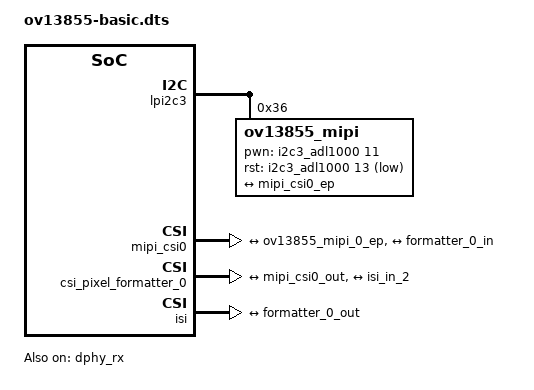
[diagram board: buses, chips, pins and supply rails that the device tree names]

&scmi_iomuxc {
	pinctrl_csi_mclk: csi_mclk {
		fsl,pins = <
			IMX95_PAD_CCM_CLKO1__CCMSRCGPCMIX_TOP_CLKO_1	0x39e
		>;
	};
};

&lpi2c3 {
	#address-cells = <1>;
	#size-cells = <0>;
	status = "okay";

	/*
	ov5640_0: ov5640_mipi@3c {
		compatible = "ovti,ov5640";
		reg = <0x3c>;
		pinctrl-names = "default";
		pinctrl-0 = <&pinctrl_csi_mclk>;
		clocks = <&scmi_clk IMX95_CLK_CCMCKO1>;
		clock-names = "xclk";
		assigned-clocks = <&scmi_clk IMX95_CLK_CCMCKO1>;
		assigned-clock-parents = <&osc_24m>;
		assigned-clock-rates = <24000000>;
		powerdown-gpios = <&i2c3_adl1000 10 GPIO_ACTIVE_HIGH>; 	//CN_GPIO0_CAM0_PWR#_1V8
		reset-gpios = <&i2c3_adl1000 12 GPIO_ACTIVE_LOW>;	//CN_GPIO2_CAM0_RST#_1V8
		status = "okay";

		port {
			ov13855_mipi_0_ep: endpoint {
				remote-endpoint = <&mipi_csi0_ep>;
				data-lanes = <1 2>;
				clock-lanes = <0>;
			};
		};
	};
	*/
	
	ov13855_mipi: ov13855_mipi@36 {
		compatible = "ov13855_mipi";
		reg = <0x36>;
		pinctrl-names = "default";
		pinctrl-0 = <&pinctrl_csi_mclk>;
		mclk = <24000000>;
		mclk_source = <0>;
		clocks = <&scmi_clk IMX95_CLK_CCMCKO1>;
		clock-names = "csi_mclk";
		assigned-clocks = <&scmi_clk IMX95_CLK_CCMCKO1>;
		assigned-clock-parents = <&osc_24m>;
		assigned-clock-rates = <24000000>;

		//pwn-gpios = <&i2c2_gpio_expander_71 0 GPIO_ACTIVE_HIGH>; 	//CN_GPIO1_CAM1_PWR#_1V8
		//rst-gpios = <&i2c2_gpio_expander_71 1 GPIO_ACTIVE_LOW>;	//CN_GPIO3_CAM1_RST#_1V8
		pwn-gpios = <&i2c3_adl1000 11 GPIO_ACTIVE_HIGH>; 	//CN_GPIO1_CAM1_PWR#_1V8
		rst-gpios = <&i2c3_adl1000 13 GPIO_ACTIVE_LOW>;	//CN_GPIO3_CAM1_RST#_1V8
		//pwn-gpios = <&i2c3_adl1000 11 GPIO_ACTIVE_HIGH>; 	//CN_GPIO1_CAM1_PWR#_1V8
		//rst-gpios = <&i2c3_adl1000 13 GPIO_ACTIVE_LOW>;	//CN_GPIO3_CAM1_RST#_1V8
		virtual_channel = <0>;
		mipi_csi;

		port@0 {
			ov13855_mipi_0_ep: endpoint {
				remote-endpoint = <&mipi_csi0_ep>;
				data-lanes = <1 2 3 4>;
				clock-lanes = <0>;
			};
		};
	};
	

};

&dphy_rx {
	status = "okay";
};

&mipi_csi0 {
	status = "okay";

	ports {
		#address-cells = <1>;
		#size-cells = <0>;

		port@0 {
			reg = <0>;
			mipi_csi0_ep: endpoint {
				remote-endpoint = <&ov13855_mipi_0_ep>;
				data-lanes = <1 2 3 4>;
				clock-lanes = <0>;
			};
		};

		port@1 {
			reg = <1>;
				mipi_csi0_out: endpoint {
				remote-endpoint = <&formatter_0_in>;
				//remote-endpoint = <&isi_in_2>;
			};
		};
	};
};

&csi_pixel_formatter_0 {
	status = "okay";

	ports {
		#address-cells = <1>;
		#size-cells = <0>;

		port@0 {
			reg = <0>;

			formatter_0_in: endpoint {
				remote-endpoint = <&mipi_csi0_out>;
			};
		};

		port@1 {
			reg = <1>;

			formatter_0_out: endpoint {
				remote-endpoint = <&isi_in_2>;
			};
		};
	};
};

&isi {
	status = "okay";

	ports {
		#address-cells = <1>;
		#size-cells = <0>;

		port@2 {
			reg = <2>;

			isi_in_2: endpoint {
				remote-endpoint = <&formatter_0_out>;
				//remote-endpoint = <&mipi_csi0_out>;
			};
		};
	};
};


